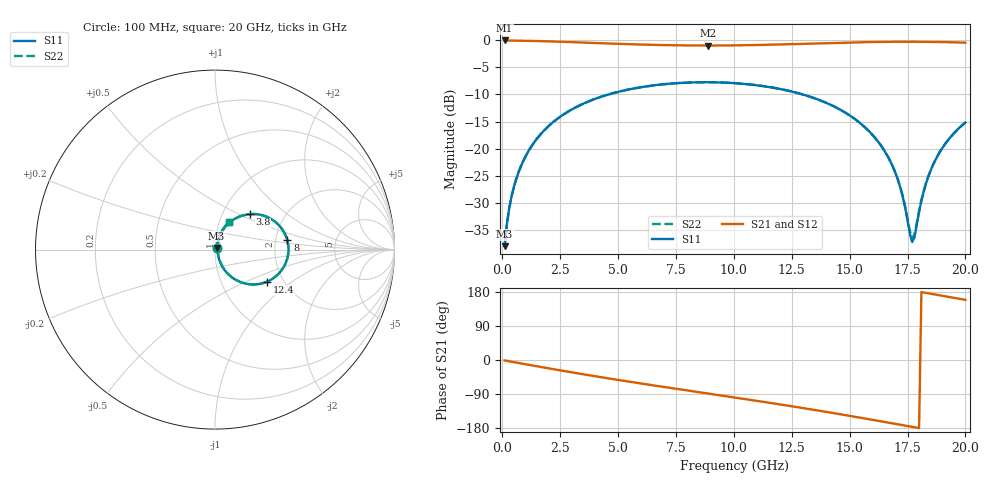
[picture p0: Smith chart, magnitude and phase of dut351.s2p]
! Touchstone file exported from HFSS 2026.1.0
!  File:  C:/ffzhzh/LocalFiles/Ansys_Project_Files/temp_train_TSV_RDL_351_1783036757_55676.aedt
!  Generated:  08:13:31 AM Jul  3, 2026
!  Design:  TSV_RDL
!  Project:  temp_train_TSV_RDL_351_1783036757_55676
! Variables:
!  h_bsmrdl = 5.99um
!  h_ox = 20um
!  h_rdl = 5um
!  h_sub = 95.59um
!  h_tmrdl = 4.38um
!  h_tsv = 95.59um
!  h_via = 3um
!  l_bsmrdl = 506.98um
!  l_sub = 3128.56um
!  l_tmrdl = 265.2um
!  m_sub = 200um
!  pitch = 51.63um
!  r_tsv = 13.49um
!  s_tmrdl = 10um
!  w_bsmrdl = 20.75um
!  w_sub = 500um
!  w_tmrdl = 28.19um
!  x_tsv_center1 = 279.295um
!  x_tsv_center2 = 807.025um
!  x_tsv_center3 = 1100.415um
!  x_tsv_center4 = 1628.145um
!  x_tsv_center5 = 1921.535um
!  x_tsv_center6 = 2449.265um
# GHz S MA R 50.000000
! Terminal data exported
! Port[1] = TM_RDL1_1_T1
! Port[2] = TM_RDL5_1_T1
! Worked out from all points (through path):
!   200 points, 100 MHz to 20 GHz, reference 50 ohm
!   highest |S21| = -0.08 dB at 100 MHz (marker M1); lowest = -1.0 dB at 8.9 GHz (marker M2)
!   group delay of S21, straight-line fit = 27.2 ps
!   lowest |S11| = -37.9 dB at 100 MHz (marker M3), VSWR 1.03, Z = 50.9 + j0.928 ohm
!   |S11| at or under -10 dB: start of sweep to 4.595 GHz; 12.97 GHz to end of sweep
!   |S22| runs from -37.9 to -7.8 dB; largest |S21 - S12| = 3.2e-14
!   S11 on the Smith chart (normalised r, x): 100 MHz: 1.02, +0.02; 3.8 GHz: 1.34, +0.57; 8 GHz: 2.33, +0.29; 12.4 GHz: 1.65, -0.67; 20 GHz: 1.11, +0.36
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0.1  0.01271 45.8  0.9913 -1.2  0.9913 -1.2  0.01271 45.8
! Gamma 0 0 0 0
! Port Impedance 50 0 50 0
0.3  0.02843 66.3  0.9898 -3.4  0.9898 -3.4  0.02843 66.3
0.5  0.04451 70.5  0.9883 -5.7  0.9883 -5.7  0.04451 70.5
1.1  0.09274 70.3  0.9836 -12.3  0.9836 -12.3  0.09274 70.3
2.1  0.169 62.0  0.9712 -23.1  0.9712 -23.1  0.169 62.0
3.5  0.26 48.5  0.948 -37.7  0.948 -37.7  0.26 48.5
3.8  0.2767 45.6  0.9427 -40.8  0.9427 -40.8  0.2767 45.6
6.8  0.3888 17.9  0.9001 -69.5  0.9001 -69.5  0.3888 17.9
8  0.4063 7.3  0.8921 -80.5  0.8921 -80.5  0.4063 7.3
8.9  0.4094 -0.6  0.8903 -88.6  0.8903 -88.6  0.4094 -0.6
10.1  0.4005 -11.1  0.8937 -99.5  0.8937 -99.5  0.4004 -11.1
12.4  0.3401 -31.8  0.9155 -121.1  0.9155 -121.1  0.3401 -31.7
13.4  0.2957 -41.0  0.9288 -131.0  0.9288 -131.0  0.2957 -40.9
15.4  0.176 -59.3  0.954 -151.6  0.954 -151.6  0.176 -59.1
16.7  0.08102 -67.7  0.9636 -165.5  0.9636 -165.5  0.08116 -67.0
17.2  0.04316 -64.2  0.9649 -171.0  0.9649 -171.0  0.04348 -62.9
17.7  0.01388 -4.1  0.9648 -176.4  0.9648 -176.4  0.01498 -3.5
17.8  0.01526 25.9  0.9646 -177.5  0.9646 -177.5  0.01629 24.4
18.2  0.04054 66.6  0.9632 178.1  0.9632 178.1  0.04098 65.1
18.6  0.07083 71.0  0.9608 173.8  0.9608 173.8  0.0711 70.0
19.2  0.1163 69.0  0.9557 167.3  0.9557 167.3  0.1165 68.4
20  0.1744 63.0  0.9462 158.7  0.9462 158.7  0.1745 62.5
